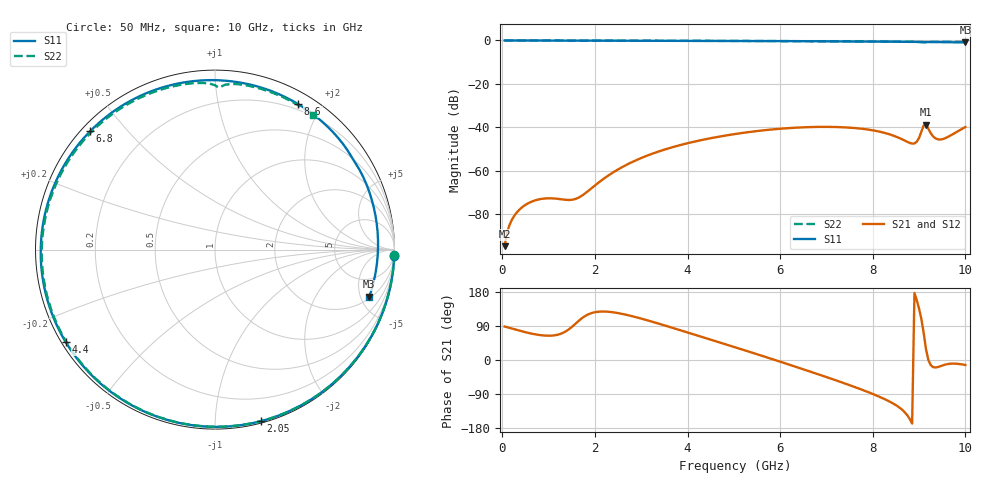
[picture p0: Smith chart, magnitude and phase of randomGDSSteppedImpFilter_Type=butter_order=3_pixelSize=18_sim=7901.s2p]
! freq	dB(S11)	phase(S11)	dB(S12)	phase(S12)
!  dB(S21)	phase(S21)	dB(S22)	phase(S22)
!S-par simulation data
#  GHz  S  DB  R 50
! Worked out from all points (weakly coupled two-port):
!   200 points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, 50 MHz to 10 GHz, reference 50 ohm
!   highest |S21| = -38.70 dB at 9.15 GHz (marker M1); lowest = -94.6 dB at 50 MHz (marker M2)
!   lowest |S11| = -0.9 dB at 10 GHz (marker M3), VSWR 18.83, Z = 108 - j297 ohm
!   |S11| at or under -10 dB: nowhere
!   |S22| runs from -0.9 to 0.0 dB; largest |S21 - S12| = 0
!   S11 on the Smith chart (normalised r, x): 50 MHz: 1, -59; 2.05 GHz: 0.01, -1.30; 4.4 GHz: 0.01, -0.28; 6.8 GHz: 0.02, +0.40; 8.6 GHz: 0.13, +1.71; 10 GHz: 2.17, -5.93
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0.05  -0.00 -1.9  -94.64 88.4  -94.64 88.4  -0.00 -1.6
0.25  -0.01 -9.6  -80.94 81.4  -80.94 81.4  -0.01 -8.0
0.75  -0.03 -28.5  -73.33 66.9  -73.33 66.9  -0.03 -23.9
1.5  -0.07 -55.9  -73.31 87.1  -73.31 87.1  -0.06 -47.2
1.75  -0.08 -64.7  -70.96 113.0  -70.96 113.0  -0.07 -54.7
2.05  -0.09 -75.0  -65.87 127.1  -65.87 127.1  -0.08 -63.7
2.65  -0.11 -94.8  -57.57 120.1  -57.57 120.1  -0.10 -81.1
3.4  -0.14 -118.3  -50.91 95.1  -50.91 95.1  -0.13 -102.1
4.4  -0.19 -148.2  -45.39 57.5  -45.39 57.5  -0.18 -129.0
5.05  -0.23 -167.4  -42.97 32.7  -42.97 32.7  -0.22 -146.3
5.9  -0.29 166.6  -40.80 -0.4  -40.80 -0.4  -0.27 -169.1
6.7  -0.36 140.1  -39.82 -32.6  -39.82 -32.6  -0.34 168.5
6.8  -0.37 136.6  -39.78 -36.8  -39.78 -36.8  -0.35 165.6
7.65  -0.46 103.9  -40.37 -73.1  -40.37 -73.1  -0.43 139.6
8.35  -0.55 72.7  -43.10 -108.9  -43.10 -108.9  -0.51 116.2
8.6  -0.59 60.4  -45.14 -127.8  -45.14 -127.8  -0.54 107.2
8.9  -0.65 44.9  -47.37 177.0  -47.37 177.0  -0.60 95.9
9.1  -0.73 34.2  -39.07 70.5  -39.07 70.5  -0.89 88.7
9.15  -0.73 31.7  -38.70 28.0  -38.70 28.0  -0.86 88.2
9.3  -0.74 23.3  -44.05 -18.6  -44.05 -18.6  -0.63 82.3
9.45  -0.77 14.9  -45.59 -16.8  -45.59 -16.8  -0.61 76.1
10  -0.92 -17.0  -39.81 -13.2  -39.81 -13.2  -0.66 54.0
